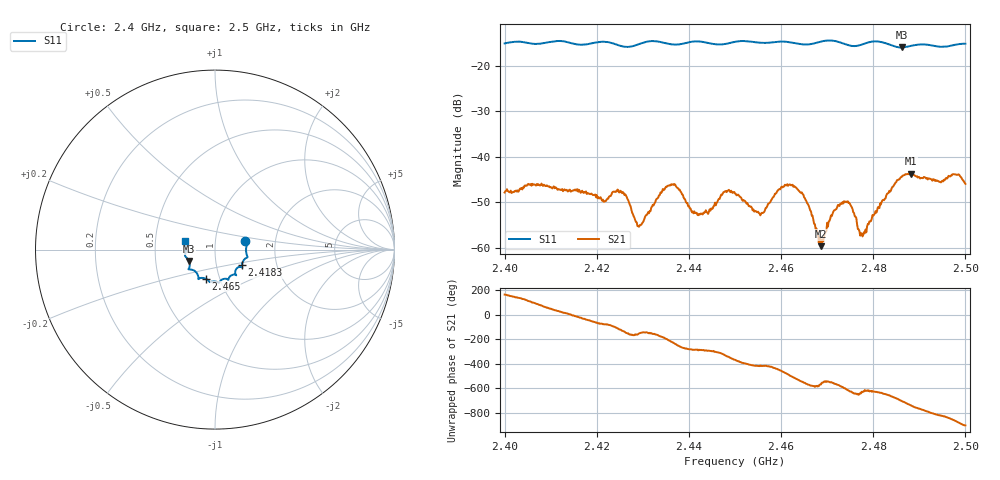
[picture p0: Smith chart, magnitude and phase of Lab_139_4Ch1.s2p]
# Hz S RI R 50
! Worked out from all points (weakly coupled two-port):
!   601 points, 2.4 GHz to 2.5 GHz, reference 50 ohm
!   highest |S21| = -43.73 dB at 2.4882 GHz (marker M1); lowest = -59.7 dB at 2.4687 GHz (marker M2)
!   lowest |S11| = -16.0 dB at 2.4862 GHz (marker M3), VSWR 1.38, Z = 37.1 - j4.82 ohm
!   |S11| at or under -10 dB: start of sweep to end of sweep
!   S12 and S22 are empty: the file has one direction only
!   S11 on the Smith chart (normalised r, x): 2.4 GHz: 1.40, +0.13; 2.4183 GHz: 1.33, -0.24; 2.465 GHz: 0.86, -0.29; 2.5 GHz: 0.71, +0.07
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2.4e9  0.1689 0.0458  -0.00386 0.00117  0 0  0 0
2.416667e9  0.1548 -0.0681  0.00369 -0.00185  0 0  0 0
2.418333e9  0.15 -0.0867  0.00266 -0.00289  0 0  0 0
2.425667e9  0.1279 -0.0991  -0.00283 -0.00293  0 0  0 0
2.429333e9  0.1125 -0.1318  -0.00156 -0.000843  0 0  0 0
2.433333e9  0.1169 -0.1412  -0.00349 -0.000662  0 0  0 0
2.436667e9  0.0931 -0.1428  -0.00305 0.00383  0 0  0 0
2.442333e9  0.0732 -0.1685  0.000777 0.00217  0 0  0 0
2.447833e9  0.0364 -0.1686  0.00369 0.00192  0 0  0 0
2.45e9  0.0251 -0.1805  0.00388 -0.000646  0 0  0 0
2.455667e9  0.00189 -0.1776  0.00125 -0.00202  0 0  0 0
2.460833e9  -0.0302 -0.1804  -0.00212 -0.00443  0 0  0 0
2.465e9  -0.0529 -0.1621  -0.00344 0.000987  0 0  0 0
2.466667e9  -0.0713 -0.1575  -0.00172 0.00145  0 0  0 0
2.468667e9  -0.0881 -0.1611  -0.000902 0.000518  0 0  0 0
2.472833e9  -0.0921 -0.1541  -0.00221 0.00207  0 0  0 0
2.475e9  -0.1018 -0.1304  -8.9e-05 0.00299  0 0  0 0
2.477667e9  -0.1293 -0.1119  7.84e-05 0.00133  0 0  0 0
2.483333e9  -0.142 -0.0959  0.00188 0.00353  0 0  0 0
2.486167e9  -0.1446 -0.0634  0.00576 0.0016  0 0  0 0
2.488167e9  -0.1581 -0.0453  0.00605 -0.00239  0 0  0 0
2.5e9  -0.1669 0.0472  -0.00501 0.0004  0 0  0 0
